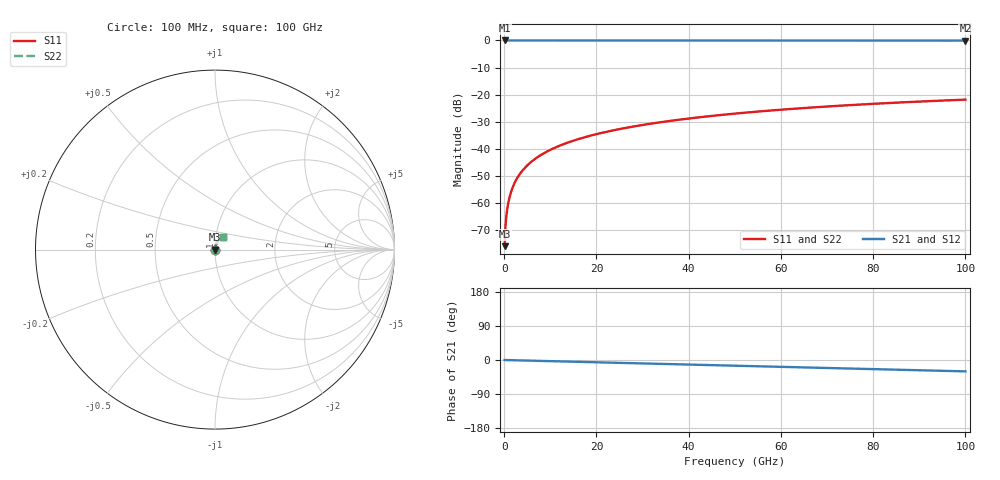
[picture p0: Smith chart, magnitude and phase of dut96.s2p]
! Touchstone file exported from HFSS 2026.1.0
!  File:  C:/ffzhzh/LocalFiles/Ansys_Project_Files/temp_train_TSV_96_1783505686_31944.aedt
!  Generated:  06:15:57 PM Jul  8, 2026
!  Design:  TSV
!  Project:  temp_train_TSV_96_1783505686_31944
! Variables:
!  h_bsmrdl = 2um
!  h_ox = 20um
!  h_rdl = 5um
!  h_sub = 54.82um
!  h_tmrdl = 5um
!  h_tsv = 54.82um
!  h_via = 3um
!  l_bsmrdl = 300um
!  l_sub = 418.98um
!  l_tmrdl = 200um
!  m_sub = 200um
!  pitch = 46.42um
!  r_tsv = 9.49um
!  s_tmrdl = 10um
!  w_bsmrdl = 18um
!  w_sub = 500um
!  w_tmrdl = 12um
!  x_tsv_center1 = 206um
!  x_tsv_center2 = 524um
!  x_tsv_center3 = 736um
!  x_tsv_center4 = 1054um
!  x_tsv_center5 = 1266um
!  x_tsv_center6 = 1584um
# GHz S MA R 50.000000
! Terminal data exported
! Port[1] = TSV1_1_T1
! Port[2] = TSV1_1_T2
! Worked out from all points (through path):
!   1000 points, 100 MHz to 100 GHz, reference 50 ohm
!   highest |S21| = 0.00 dB at 100 MHz (marker M1); lowest = 0.0 dB at 100 GHz (marker M2)
!   group delay of S21, straight-line fit = 834 fs
!   lowest |S11| = -75.8 dB at 100 MHz (marker M3), VSWR 1.00, Z = 50 + j0.0125 ohm
!   |S11| at or under -10 dB: start of sweep to end of sweep
!   |S22| runs from -75.8 to -21.8 dB; largest |S21 - S12| = 4.1e-15
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0.1  0.0001626 50.4  0.9999 -0.0  0.9999 -0.0  0.0001626 50.4
! Gamma 0 0 0 0
! Port Impedance 50 0 50 0
0.4  0.0004978 73.3  0.9999 -0.1  0.9999 -0.1  0.0004978 73.3
0.7  0.000816 76.8  0.9998 -0.2  0.9998 -0.2  0.000816 76.8
0.8  0.0009187 77.5  0.9998 -0.2  0.9998 -0.2  0.0009187 77.5
1  0.001122 78.6  0.9998 -0.3  0.9998 -0.3  0.001122 78.6
1.3  0.001424 79.8  0.9998 -0.4  0.9998 -0.4  0.001424 79.8
1.8  0.001921 80.9  0.9997 -0.6  0.9997 -0.6  0.001921 81.0
2.3  0.002411 81.6  0.9997 -0.7  0.9997 -0.7  0.002411 81.6
3  0.003087 82.2  0.9996 -0.9  0.9996 -0.9  0.003087 82.2
3.8  0.003849 82.6  0.9996 -1.2  0.9996 -1.2  0.003849 82.6
4.8  0.004794 82.9  0.9995 -1.5  0.9995 -1.5  0.004794 82.9
6  0.005921 83.1  0.9995 -1.8  0.9995 -1.8  0.005921 83.1
8.8  0.008534 83.1  0.9993 -2.7  0.9993 -2.7  0.008534 83.1
12.4  0.01187 82.5  0.9992 -3.8  0.9992 -3.8  0.01187 82.5
16.8  0.01589 81.7  0.999 -5.1  0.999 -5.1  0.01589 81.7
24.2  0.02257 80.0  0.9987 -7.3  0.9987 -7.3  0.02257 80.0
33.4  0.03074 77.6  0.9983 -10.1  0.9983 -10.1  0.03074 77.6
41.2  0.03751 75.5  0.9979 -12.4  0.9979 -12.4  0.03751 75.5
50.1  0.04501 73.0  0.9974 -15.1  0.9974 -15.1  0.04501 73.0
66.7  0.05826 68.2  0.9965 -20.0  0.9965 -20.0  0.05826 68.2
83.4  0.07043 63.4  0.9955 -25.1  0.9955 -25.1  0.07043 63.4
100  0.08126 58.6  0.9944 -30.0  0.9944 -30.0  0.08126 58.6
